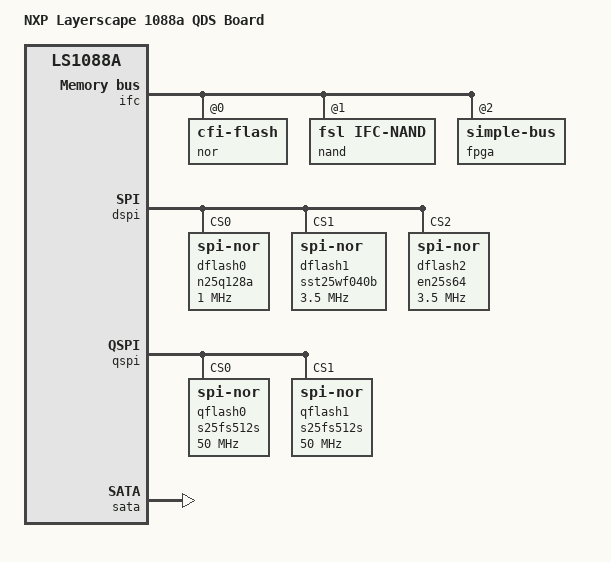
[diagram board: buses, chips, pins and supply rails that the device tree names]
// SPDX-License-Identifier: GPL-2.0+ OR X11
/*
 * NXP ls1088a QDS board device tree source
 *
 * Copyright 2017 NXP
 */

/dts-v1/;

#include "fsl-ls1088a.dtsi"

/ {
	model = "NXP Layerscape 1088a QDS Board";
	compatible = "fsl,ls1088a-qds", "fsl,ls1088a";
	aliases {
		spi0 = &qspi;
		spi1 = &dspi;
	};
};

&ifc {
	#address-cells = <2>;
	#size-cells = <1>;
	/* NOR, NAND Flashes and FPGA on board */
	ranges = <0 0 0x5 0x80000000 0x08000000
			2 0 0x5 0x30000000 0x00010000
			3 0 0x5 0x20000000 0x00010000>;
	status = "okay";

	nor@0,0 {
		#address-cells = <1>;
		#size-cells = <1>;
		compatible = "cfi-flash";
		reg = <0x0 0x0 0x8000000>;
		bank-width = <2>;
		device-width = <1>;
	};

	nand@2,0 {
		compatible = "fsl,ifc-nand";
		#address-cells = <1>;
		#size-cells = <1>;
		reg = <0x1 0x0 0x10000>;
	};

	fpga: board-control@3,0 {
		#address-cells = <1>;
		#size-cells = <1>;
		compatible = "simple-bus", "fsl,ls1088aqds-fpga",
				"fsl,fpga-qixis";
		reg = <0x2 0x0 0x0000100>;
		bank-width = <1>;
		device-width = <1>;
		ranges = <0 2 0 0x100>;
	};
};

&dspi {
	bus-num = <0>;
	status = "okay";

	dflash0: n25q128a {
		#address-cells = <1>;
		#size-cells = <1>;
		compatible = "jedec,spi-nor";
		reg = <0>;
		spi-max-frequency = <1000000>; /* input clock */
	};

	dflash1: sst25wf040b {
		#address-cells = <1>;
		#size-cells = <1>;
		compatible = "jedec,spi-nor";
		spi-max-frequency = <3500000>;
		reg = <1>;
	};

	dflash2: en25s64 {
		#address-cells = <1>;
		#size-cells = <1>;
		compatible = "jedec,spi-nor";
		spi-max-frequency = <3500000>;
		reg = <2>;
	};
};

&qspi {
	bus-num = <0>;
	status = "okay";

	qflash0: s25fs512s@0 {
		#address-cells = <1>;
		#size-cells = <1>;
		compatible = "jedec,spi-nor";
		spi-max-frequency = <50000000>;
		reg = <0>;
	};

	qflash1: s25fs512s@1 {
		#address-cells = <1>;
		#size-cells = <1>;
		compatible = "jedec,spi-nor";
		spi-max-frequency = <50000000>;
		reg = <1>;
	 };
};

&sata {
	status = "okay";
};
